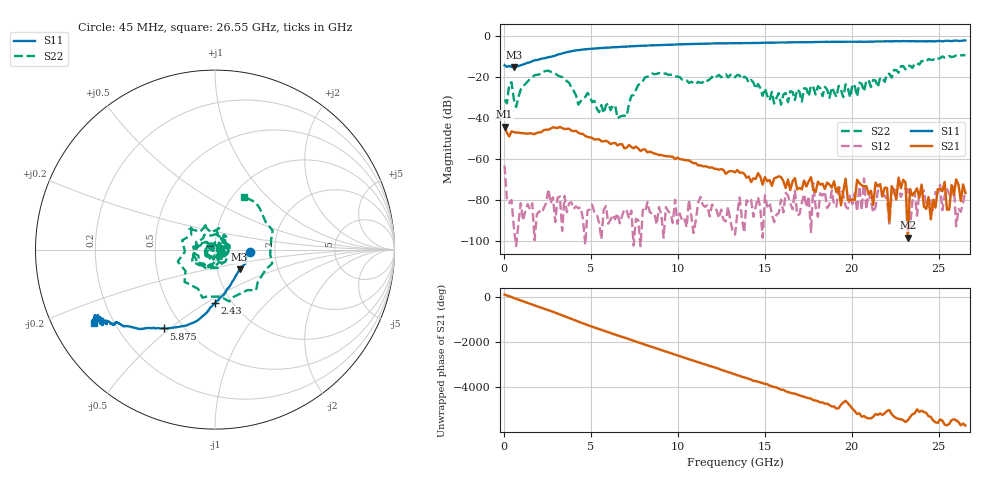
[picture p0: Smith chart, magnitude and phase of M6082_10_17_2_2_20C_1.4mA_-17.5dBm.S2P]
!  2-Port S-parameters saved by WinCal
! VAR MeasName=S-Parameters (CALIBRATED_DATA) read from VNA (C)
! VAR MeasDate=10/16/2015 3:42:39 PM
! VAR NAME=M6082_10_17_2_2_20C_1.4mA_-17.5dBm
! VAR FILENAME=M6082_10_17_2_2_20C_1.4mA_-17.5dBm.S2P
! VAR DATE=10/16/2015 3:42:39 PM
! VAR PHYS_PORTS=2,1
! VAR ObjTypeName=DATASET
! VAR IndexType=Frequency
# Hz S DB R 50
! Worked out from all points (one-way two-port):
!   201 points, 45 MHz to 26.55 GHz, reference 50 ohm
!   highest |S21| = -44.09 dB at 45 MHz (marker M1); lowest = -98.4 dB at 23.23 GHz (marker M2)
!   lowest |S11| = -15.1 dB at 575 MHz (marker M3), VSWR 1.43, Z = 64 - j14.6 ohm
!   |S11| at or under -10 dB: start of sweep to 2.713 GHz
!   |S22| runs from -40.1 to -9.2 dB; largest |S21 - S12| = 0.0064
!   S11 on the Smith chart (normalised r, x): 45 MHz: 1.48, -0.04; 2.43 GHz: 0.84, -0.54; 5.875 GHz: 0.39, -0.48; 26.55 GHz: 0.13, -0.28
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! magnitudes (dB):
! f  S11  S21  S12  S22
! 45 MHz  -14.2  -44.1  -63.1  -31.0
! 177.5 MHz  -14.9  -47.1  -79.8  -32.8
! 442.5 MHz  -15.0  -46.4  -79.9  -22.4
! 575 MHz  -15.1  -46.8  -93.1  -30.7
! 2.43 GHz  -10.6  -45.6  -81.4  -16.9
! 4.55 GHz  -6.5  -47.7  -89.1  -30.4
! 5.875 GHz  -5.6  -51.0  -82.9  -33.7
! 7.067 GHz  -5.1  -54.4  -85.0  -39.1
! 8.922 GHz  -4.3  -58.0  -83.4  -18.0
! 13.29 GHz  -3.4  -66.4  -96.8  -20.0
! 15.95 GHz  -3.1  -68.7  -79.7  -33.4
! 17.8 GHz  -2.9  -74.8  -71.7  -24.9
! 19.39 GHz  -2.7  -82.5  -73.5  -26.2
! 19.66 GHz  -2.7  -69.5  -82.9  -23.5
! 20.18 GHz  -2.7  -79.9  -76.7  -24.4
! 20.32 GHz  -2.7  -70.0  -85.5  -29.4
! 20.71 GHz  -2.7  -73.2  -69.4  -27.0
! 20.85 GHz  -2.7  -73.2  -84.5  -21.6
! 22.17 GHz  -2.5  -90.6  -91.5  -18.4
! 22.7 GHz  -2.5  -69.0  -74.8  -17.8
! 23.23 GHz  -2.5  -98.4  -74.8  -14.4
! 26.55 GHz  -2.1  -76.5  -75.4  -9.5
